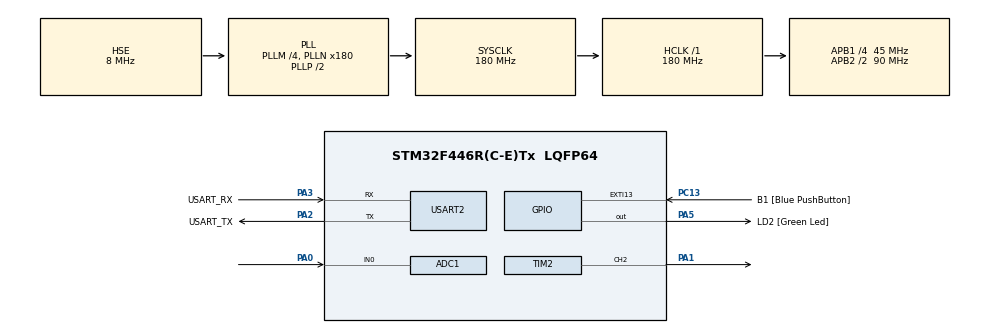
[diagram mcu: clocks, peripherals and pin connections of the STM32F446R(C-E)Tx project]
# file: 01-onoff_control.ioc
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ADC1.Channel-0\#ChannelRegularConversion=ADC_CHANNEL_0
ADC1.ClockPrescaler=ADC_CLOCK_SYNC_PCLK_DIV8
ADC1.ContinuousConvMode=ENABLE
ADC1.NbrOfConversionFlag=1
ADC1.Rank-0\#ChannelRegularConversion=1
ADC1.SamplingTime-0\#ChannelRegularConversion=ADC_SAMPLETIME_3CYCLES
ADC1.master=1
Dma.Request0=USART2_TX
Dma.USART2_TX.0.Direction=DMA_MEMORY_TO_PERIPH
Dma.USART2_TX.0.FIFOMode=DMA_FIFOMODE_DISABLE
Dma.USART2_TX.0.Instance=DMA1_Stream6
Dma.USART2_TX.0.MemDataAlignment=DMA_MDATAALIGN_BYTE
Dma.USART2_TX.0.MemInc=DMA_MINC_ENABLE
Dma.USART2_TX.0.Mode=DMA_NORMAL
Dma.USART2_TX.0.PeriphDataAlignment=DMA_PDATAALIGN_BYTE
Dma.USART2_TX.0.PeriphInc=DMA_PINC_DISABLE
Dma.USART2_TX.0.Priority=DMA_PRIORITY_LOW
Mcu.Family=STM32F4
Mcu.Name=STM32F446R(C-E)Tx
Mcu.Package=LQFP64
NVIC.DMA1_Stream6_IRQn=true\:0\:0\:false\:false\:true\:false\:true\:true
NVIC.PriorityGroup=NVIC_PRIORITYGROUP_0
NVIC.USART2_IRQn=true\:0\:0\:false\:false\:true\:true\:true\:true
PA0-WKUP.Signal=ADCx_IN0
PA1.Signal=S_TIM2_CH2
PA13.GPIO_Label=TMS
PA13.Mode=Serial_Wire
PA13.Signal=SYS_JTMS-SWDIO
PA14.GPIO_Label=TCK
PA14.Mode=Serial_Wire
PA14.Signal=SYS_JTCK-SWCLK
PA2.GPIO_Label=USART_TX
PA2.Mode=Asynchronous
PA2.Signal=USART2_TX
PA3.GPIO_Label=USART_RX
PA3.Mode=Asynchronous
PA3.Signal=USART2_RX
PA5.GPIO_Label=LD2 [Green Led]
PA5.Signal=GPIO_Output
PB3.GPIO_Label=SWO
PB3.Signal=SYS_JTDO-SWO
PC13.GPIO_Label=B1 [Blue PushButton]
PC13.GPIO_ModeDefaultEXTI=GPIO_MODE_IT_FALLING
PC13.Signal=GPXTI13
PC14-OSC32_IN.Signal=RCC_OSC32_IN
PC15-OSC32_OUT.Signal=RCC_OSC32_OUT
PH0-OSC_IN.Mode=HSE-External-Oscillator
PH0-OSC_IN.Signal=RCC_OSC_IN
PH1-OSC_OUT.Mode=HSE-External-Oscillator
PH1-OSC_OUT.Signal=RCC_OSC_OUT
ProjectManager.HeapSize=0x200
ProjectManager.StackSize=0x400
ProjectManager.TargetToolchain=CMake
RCC.AHBFreq_Value=180000000
RCC.APB1CLKDivider=RCC_HCLK_DIV4
RCC.APB1Freq_Value=45000000
RCC.APB1TimFreq_Value=90000000
RCC.APB2CLKDivider=RCC_HCLK_DIV2
RCC.APB2Freq_Value=90000000
RCC.APB2TimFreq_Value=180000000
RCC.CortexFreq_Value=180000000
RCC.FLatency-AdvancedSettings=FLASH_LATENCY_5
RCC.HCLKFreq_Value=180000000
RCC.HSE_VALUE=8000000
RCC.HSI_VALUE=16000000
RCC.LSE_VALUE=32768
RCC.PLLM=4
RCC.PLLN=180
RCC.PLLSourceVirtual=RCC_PLLSOURCE_HSE
RCC.SYSCLKFreq_VALUE=180000000
RCC.SYSCLKSource=RCC_SYSCLKSOURCE_PLLCLK
RCC.USBFreq_Value=180000000
RCC.VCOOutputFreq_Value=360000000
SH.ADCx_IN0.0=ADC1_IN0,IN0
SH.S_TIM2_CH2.0=TIM2_CH2,PWM Generation2 CH2
TIM2.Channel-PWM\ Generation2\ CH2=TIM_CHANNEL_2
TIM2.Period=100-1
TIM2.Prescaler=90-1
TIM2.Pulse-PWM\ Generation2\ CH2=50
USART2.VirtualMode=VM_ASYNC
board=NUCLEO-F446RE

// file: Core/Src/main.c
/* USER CODE BEGIN Header */
/**
  ******************************************************************************
  * @file           : main.c
  * @brief          : Main program body
  ******************************************************************************
  * @attention
  *
  * Copyright (c) 2025 STMicroelectronics.
  * All rights reserved.
  *
  * This software is licensed under terms that can be found in the LICENSE file
  * in the root directory of this software component.
  * If no LICENSE file comes with this software, it is provided AS-IS.
  *
  ******************************************************************************
  */
/* USER CODE END Header */
#include "main.h"

/* USER CODE BEGIN Includes */
#include "logger.h"
#include "photocell.h"
#include "led_pwm.h"

/* USER CODE END Includes */

ADC_HandleTypeDef hadc1;

TIM_HandleTypeDef htim2;

UART_HandleTypeDef huart2;
DMA_HandleTypeDef hdma_usart2_tx;

void SystemClock_Config(void);
static void MX_GPIO_Init(void);
static void MX_DMA_Init(void);
static void MX_ADC1_Init(void);
static void MX_TIM2_Init(void);
static void MX_USART2_UART_Init(void);

/* USER CODE BEGIN 0 */
photoCell_t photocell;

LedPwm_t led_pwm = {
    .htim = &htim2,
    .channel = TIM_CHANNEL_2,
    .duty_percent = 0
};

/* USER CODE END 0 */

int main(void)
{

  /* MCU Configuration--------------------------------------------------------*/

  /* Reset of all peripherals, Initializes the Flash interface and the Systick. */
  HAL_Init();

  /* Configure the system clock */
  SystemClock_Config();

  /* Initialize all configured peripherals */
  MX_GPIO_Init();
  MX_DMA_Init();
  MX_ADC1_Init();
  MX_TIM2_Init();
  MX_USART2_UART_Init();
  /* USER CODE BEGIN 2 */
  Log_Init();
  Log_SetLevel(LOG_LEVEL_DEBUG);
  Log(LOG_LEVEL_INFO, "System initialized.\n");

  photoCell_init(&photocell, DEFAULT_SCALING, DEFAULT_MIN_READ, DEFAULT_MAX_READ);
  Log(LOG_LEVEL_INFO, "Photocell initialized with scaling: %s, min: %d, max: %d\n",
      photocell.scaled ? "true" : "false", photocell.min_value, photocell.max_value);

  LedPwm_init(&led_pwm, &htim2, TIM_CHANNEL_2);
  LedPwm_start(&led_pwm);
  LedPwm_setDuty(&led_pwm, 50); // Set initial duty cycle to 50%

  /* USER CODE END 2 */

  /* Infinite loop */
  while (1)
  {

    /* USER CODE BEGIN 3 */

    // Read the photocell sensor
    // uint8_t light_level = readSensor(&photocell);
    // Log(LOG_LEVEL_DEBUG, "Light level: %d (raw: %d)\n", photocell.current_level, photocell.last_raw_value);
    // HAL_Delay(1000);

    uint8_t light_level = readSensor(&photocell);
    uint8_t inverted = 100 - light_level;  // Invert brightness
    LedPwm_setDuty(&led_pwm, inverted);

    HAL_Delay(500); // Delay for 100 ms

  }
  /* USER CODE END 3 */
}

void SystemClock_Config(void)
{
  RCC_OscInitTypeDef RCC_OscInitStruct = {0};
  RCC_ClkInitTypeDef RCC_ClkInitStruct = {0};

  /** Configure the main internal regulator output voltage
  */
  __HAL_RCC_PWR_CLK_ENABLE();
  __HAL_PWR_VOLTAGESCALING_CONFIG(PWR_REGULATOR_VOLTAGE_SCALE1);

  /** Initializes the RCC Oscillators according to the specified parameters
  * in the RCC_OscInitTypeDef structure.
  */
  RCC_OscInitStruct.OscillatorType = RCC_OSCILLATORTYPE_HSE;
  RCC_OscInitStruct.HSEState = RCC_HSE_ON;
  RCC_OscInitStruct.PLL.PLLState = RCC_PLL_ON;
  RCC_OscInitStruct.PLL.PLLSource = RCC_PLLSOURCE_HSE;
  RCC_OscInitStruct.PLL.PLLM = 4;
  RCC_OscInitStruct.PLL.PLLN = 180;
  RCC_OscInitStruct.PLL.PLLP = RCC_PLLP_DIV2;
  RCC_OscInitStruct.PLL.PLLQ = 2;
  RCC_OscInitStruct.PLL.PLLR = 2;
  if (HAL_RCC_OscConfig(&RCC_OscInitStruct) != HAL_OK)
  {
    Error_Handler();
  }

  /** Activate the Over-Drive mode
  */
  if (HAL_PWREx_EnableOverDrive() != HAL_OK)
  {
    Error_Handler();
  }

  /** Initializes the CPU, AHB and APB buses clocks
  */
  RCC_ClkInitStruct.ClockType = RCC_CLOCKTYPE_HCLK|RCC_CLOCKTYPE_SYSCLK
                              |RCC_CLOCKTYPE_PCLK1|RCC_CLOCKTYPE_PCLK2;
  RCC_ClkInitStruct.SYSCLKSource = RCC_SYSCLKSOURCE_PLLCLK;
  RCC_ClkInitStruct.AHBCLKDivider = RCC_SYSCLK_DIV1;
  RCC_ClkInitStruct.APB1CLKDivider = RCC_HCLK_DIV4;
  RCC_ClkInitStruct.APB2CLKDivider = RCC_HCLK_DIV2;

  if (HAL_RCC_ClockConfig(&RCC_ClkInitStruct, FLASH_LATENCY_5) != HAL_OK)
  {
    Error_Handler();
  }
}

static void MX_ADC1_Init(void)
{

  ADC_ChannelConfTypeDef sConfig = {0};

  /** Configure the global features of the ADC (Clock, Resolution, Data Alignment and number of conversion)
  */
  hadc1.Instance = ADC1;
  hadc1.Init.ClockPrescaler = ADC_CLOCK_SYNC_PCLK_DIV8;
  hadc1.Init.Resolution = ADC_RESOLUTION_12B;
  hadc1.Init.ScanConvMode = DISABLE;
  hadc1.Init.ContinuousConvMode = ENABLE;
  hadc1.Init.DiscontinuousConvMode = DISABLE;
  hadc1.Init.ExternalTrigConvEdge = ADC_EXTERNALTRIGCONVEDGE_NONE;
  hadc1.Init.ExternalTrigConv = ADC_SOFTWARE_START;
  hadc1.Init.DataAlign = ADC_DATAALIGN_RIGHT;
  hadc1.Init.NbrOfConversion = 1;
  hadc1.Init.DMAContinuousRequests = DISABLE;
  hadc1.Init.EOCSelection = ADC_EOC_SINGLE_CONV;
  if (HAL_ADC_Init(&hadc1) != HAL_OK)
  {
    Error_Handler();
  }

  /** Configure for the selected ADC regular channel its corresponding rank in the sequencer and its sample time.
  */
  sConfig.Channel = ADC_CHANNEL_0;
  sConfig.Rank = 1;
  sConfig.SamplingTime = ADC_SAMPLETIME_3CYCLES;
  if (HAL_ADC_ConfigChannel(&hadc1, &sConfig) != HAL_OK)
  {
    Error_Handler();
  }

}

static void MX_TIM2_Init(void)
{

  TIM_MasterConfigTypeDef sMasterConfig = {0};
  TIM_OC_InitTypeDef sConfigOC = {0};

  htim2.Instance = TIM2;
  htim2.Init.Prescaler = 90-1;
  htim2.Init.CounterMode = TIM_COUNTERMODE_UP;
  htim2.Init.Period = 100-1;
  htim2.Init.ClockDivision = TIM_CLOCKDIVISION_DIV1;
  htim2.Init.AutoReloadPreload = TIM_AUTORELOAD_PRELOAD_DISABLE;
  if (HAL_TIM_PWM_Init(&htim2) != HAL_OK)
  {
    Error_Handler();
  }
  sMasterConfig.MasterOutputTrigger = TIM_TRGO_RESET;
  sMasterConfig.MasterSlaveMode = TIM_MASTERSLAVEMODE_DISABLE;
  if (HAL_TIMEx_MasterConfigSynchronization(&htim2, &sMasterConfig) != HAL_OK)
  {
    Error_Handler();
  }
  sConfigOC.OCMode = TIM_OCMODE_PWM1;
  sConfigOC.Pulse = 50;
  sConfigOC.OCPolarity = TIM_OCPOLARITY_HIGH;
  sConfigOC.OCFastMode = TIM_OCFAST_DISABLE;
  if (HAL_TIM_PWM_ConfigChannel(&htim2, &sConfigOC, TIM_CHANNEL_2) != HAL_OK)
  {
    Error_Handler();
  }
  HAL_TIM_MspPostInit(&htim2);

}

static void MX_USART2_UART_Init(void)
{

  huart2.Instance = USART2;
  huart2.Init.BaudRate = 115200;
  huart2.Init.WordLength = UART_WORDLENGTH_8B;
  huart2.Init.StopBits = UART_STOPBITS_1;
  huart2.Init.Parity = UART_PARITY_NONE;
  huart2.Init.Mode = UART_MODE_TX_RX;
  huart2.Init.HwFlowCtl = UART_HWCONTROL_NONE;
  huart2.Init.OverSampling = UART_OVERSAMPLING_16;
  if (HAL_UART_Init(&huart2) != HAL_OK)
  {
    Error_Handler();
  }

}

static void MX_DMA_Init(void)
{

  /* DMA controller clock enable */
  __HAL_RCC_DMA1_CLK_ENABLE();

  /* DMA interrupt init */
  /* DMA1_Stream6_IRQn interrupt configuration */
  HAL_NVIC_SetPriority(DMA1_Stream6_IRQn, 0, 0);
  HAL_NVIC_EnableIRQ(DMA1_Stream6_IRQn);

}

static void MX_GPIO_Init(void)
{
  GPIO_InitTypeDef GPIO_InitStruct = {0};

  /* GPIO Ports Clock Enable */
  __HAL_RCC_GPIOC_CLK_ENABLE();
  __HAL_RCC_GPIOH_CLK_ENABLE();
  __HAL_RCC_GPIOA_CLK_ENABLE();
  __HAL_RCC_GPIOB_CLK_ENABLE();

  /*Configure GPIO pin Output Level */
  HAL_GPIO_WritePin(LD2_GPIO_Port, LD2_Pin, GPIO_PIN_RESET);

  /*Configure GPIO pin : B1_Pin */
  GPIO_InitStruct.Pin = B1_Pin;
  GPIO_InitStruct.Mode = GPIO_MODE_IT_FALLING;
  GPIO_InitStruct.Pull = GPIO_NOPULL;
  HAL_GPIO_Init(B1_GPIO_Port, &GPIO_InitStruct);

  /*Configure GPIO pin : LD2_Pin */
  GPIO_InitStruct.Pin = LD2_Pin;
  GPIO_InitStruct.Mode = GPIO_MODE_OUTPUT_PP;
  GPIO_InitStruct.Pull = GPIO_NOPULL;
  GPIO_InitStruct.Speed = GPIO_SPEED_FREQ_LOW;
  HAL_GPIO_Init(LD2_GPIO_Port, &GPIO_InitStruct);

}

void Error_Handler(void)
{
  __disable_irq();
  while (1)
  {
  }
}
